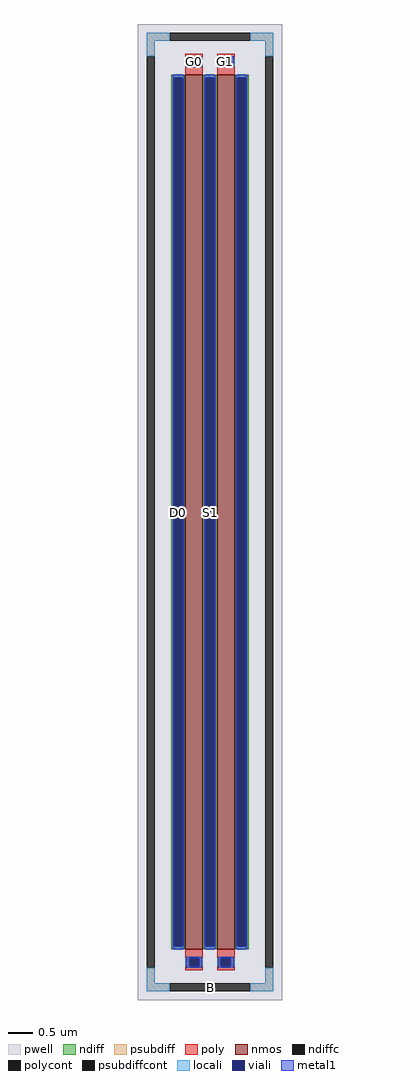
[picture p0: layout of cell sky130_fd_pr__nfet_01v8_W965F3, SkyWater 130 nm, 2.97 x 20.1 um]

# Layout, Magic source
magic
tech sky130A
magscale 1 2
<< pwell >>
rect -297 -2010 297 2010
<< nmos >>
rect -101 -1800 -29 1800
rect 29 -1800 101 1800
<< ndiff >>
rect -159 1788 -101 1800
rect -159 -1788 -147 1788
rect -113 -1788 -101 1788
rect -159 -1800 -101 -1788
rect -29 1788 29 1800
rect -29 -1788 -17 1788
rect 17 -1788 29 1788
rect -29 -1800 29 -1788
rect 101 1788 159 1800
rect 101 -1788 113 1788
rect 147 -1788 159 1788
rect 101 -1800 159 -1788
<< ndiffc >>
rect -147 -1788 -113 1788
rect -17 -1788 17 1788
rect 113 -1788 147 1788
<< psubdiff >>
rect -261 1940 -165 1974
rect 165 1940 261 1974
rect -261 1878 -227 1940
rect 227 1878 261 1940
rect -261 -1940 -227 -1878
rect 227 -1940 261 -1878
rect -261 -1974 -165 -1940
rect 165 -1974 261 -1940
<< psubdiffcont >>
rect -165 1940 165 1974
rect -261 -1878 -227 1878
rect 227 -1878 261 1878
rect -165 -1974 165 -1940
<< poly >>
rect -101 1872 -29 1888
rect -101 1838 -85 1872
rect -45 1838 -29 1872
rect -101 1800 -29 1838
rect 29 1872 101 1888
rect 29 1838 45 1872
rect 85 1838 101 1872
rect 29 1800 101 1838
rect -101 -1838 -29 -1800
rect -101 -1872 -85 -1838
rect -45 -1872 -29 -1838
rect -101 -1888 -29 -1872
rect 29 -1838 101 -1800
rect 29 -1872 45 -1838
rect 85 -1872 101 -1838
rect 29 -1888 101 -1872
<< polycont >>
rect -85 1838 -45 1872
rect 45 1838 85 1872
rect -85 -1872 -45 -1838
rect 45 -1872 85 -1838
<< locali >>
rect -261 1940 -165 1974
rect 165 1940 261 1974
rect -261 1878 -227 1940
rect 227 1878 261 1940
rect -101 1838 -85 1872
rect -45 1838 -29 1872
rect 29 1838 45 1872
rect 85 1838 101 1872
rect -147 1788 -113 1804
rect -147 -1804 -113 -1788
rect -17 1788 17 1804
rect -17 -1804 17 -1788
rect 113 1788 147 1804
rect 113 -1804 147 -1788
rect -101 -1872 -85 -1838
rect -45 -1872 -29 -1838
rect 29 -1872 45 -1838
rect 85 -1872 101 -1838
rect -261 -1940 -227 -1878
rect 227 -1940 261 -1878
rect -261 -1974 -165 -1940
rect 165 -1974 261 -1940
<< viali >>
rect -85 1838 -45 1872
rect 45 1838 85 1872
rect -147 -1788 -113 1788
rect -17 -1788 17 1788
rect 113 -1788 147 1788
rect -85 -1872 -45 -1838
rect 45 -1872 85 -1838
<< metal1 >>
rect -97 1872 -33 1878
rect -97 1838 -85 1872
rect -45 1838 -33 1872
rect -97 1832 -33 1838
rect 33 1872 97 1878
rect 33 1838 45 1872
rect 85 1838 97 1872
rect 33 1832 97 1838
rect -153 1788 -107 1800
rect -153 -1788 -147 1788
rect -113 -1788 -107 1788
rect -153 -1800 -107 -1788
rect -23 1788 23 1800
rect -23 -1788 -17 1788
rect 17 -1788 23 1788
rect -23 -1800 23 -1788
rect 107 1788 153 1800
rect 107 -1788 113 1788
rect 147 -1788 153 1788
rect 107 -1800 153 -1788
rect -97 -1838 -33 -1832
rect -97 -1872 -85 -1838
rect -45 -1872 -33 -1838
rect -97 -1878 -33 -1872
rect 33 -1838 97 -1832
rect 33 -1872 45 -1838
rect 85 -1872 97 -1838
rect 33 -1878 97 -1872
<< labels >>
rlabel psubdiffcont 0 -1957 0 -1957 0 B
port 1 nsew
rlabel ndiffc -130 0 -130 0 0 D0
port 2 nsew
rlabel polycont -65 1855 -65 1855 0 G0
port 3 nsew
rlabel ndiffc 0 0 0 0 0 S1
port 4 nsew
rlabel polycont 65 1855 65 1855 0 G1
port 5 nsew
<< properties >>
string FIXED_BBOX -244 -1957 244 1957
string gencell sky130_fd_pr__nfet_01v8
string library sky130
string parameters w 18 l 0.36 m 1 nf 2 diffcov 100 polycov 100 guard 1 glc 1 grc 1 gtc 1 gbc 1 tbcov 100 rlcov 100 topc 1 botc 1 poverlap 0 doverlap 1 lmin 0.15 wmin 0.42 class mosfet compatible {sky130_fd_pr__nfet_01v8 sky130_fd_pr__nfet_01v8_lvt  sky130_fd_bs_flash__special_sonosfet_star  sky130_fd_pr__nfet_g5v0d10v5 sky130_fd_pr__nfet_05v0_nvt  sky130_fd_pr__nfet_03v3_nvt} full_metal 1 conn_gates 0 viasrc 100 viadrn 100 viagate 100 viagb 0 viagr 0 viagl 0 viagt 0 doports 1
<< end >>
